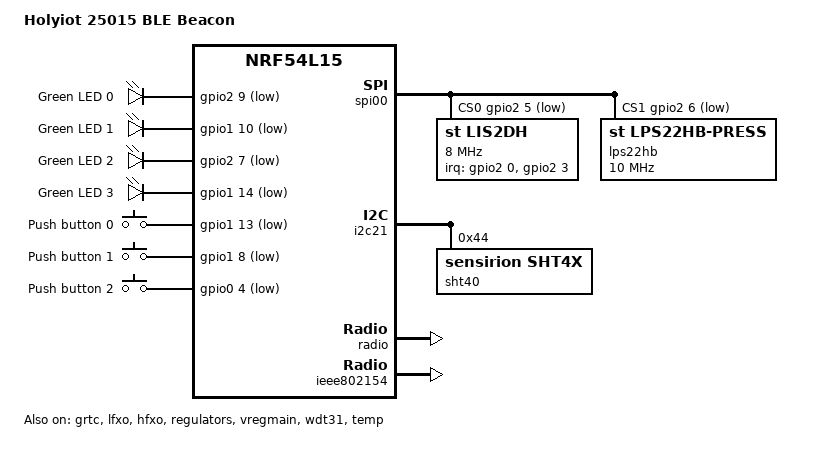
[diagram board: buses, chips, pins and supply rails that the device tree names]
/dts-v1/;
#include <nordic/nrf54l15_cpuapp.dtsi>
#include "holyiot_25015-pinctrl.dtsi"

/ {
	model = "Holyiot 25015 BLE Beacon";
	compatible = "holyiot,holyiot-25015-cpuapp";

	chosen {
		zephyr,code-partition = &slot0_partition;
		zephyr,sram = &cpuapp_sram;
		zephyr,flash = &cpuapp_rram;
		zephyr,flash-controller = &rram_controller;
	};

	leds {
		compatible = "gpio-leds";

		led0: led_0 {
			gpios = <&gpio2 9 GPIO_ACTIVE_LOW>;
			label = "Green LED 0";
		};

		led1: led_1 {
			gpios = <&gpio1 10 GPIO_ACTIVE_LOW>;
			label = "Green LED 1";
		};

		led2: led_2 {
			gpios = <&gpio2 7 GPIO_ACTIVE_LOW>;
			label = "Green LED 2";
		};

		led3: led_3 {
			gpios = <&gpio1 14 GPIO_ACTIVE_LOW>;
			label = "Green LED 3";
		};
	};

	buttons {
		compatible = "gpio-keys";

		/* P1.09 is used for I2C21 SCL (SHT40), so the physical button
		 * moves to button0 here instead of appearing as button1 as on 25008 */
		button0: button_0 {
			gpios = <&gpio1 13 (GPIO_PULL_UP | GPIO_ACTIVE_LOW)>;
			label = "Push button 0";
			zephyr,code = <INPUT_KEY_0>;
		};

		button1: button_1 {
			gpios = <&gpio1 8 (GPIO_PULL_UP | GPIO_ACTIVE_LOW)>;
			label = "Push button 1";
			zephyr,code = <INPUT_KEY_1>;
		};

		button2: button_2 {
			gpios = <&gpio0 4 (GPIO_PULL_UP | GPIO_ACTIVE_LOW)>;
			label = "Push button 2";
			zephyr,code = <INPUT_KEY_2>;
		};
	};

	aliases {
		led0 = &led0;
		led1 = &led1;
		led2 = &led2;
		led3 = &led3;
		sw0 = &button0;
		sw1 = &button1;
		sw2 = &button2;
		watchdog0 = &wdt31;
		accel0 = &lis2dh;
		env0 = &sht40;
	};
};

&grtc {
	owned-channels = <0 1 2 3 4 5 6 7 8 9 10 11>;
	/* Channels 7-11 reserved for Zero Latency IRQs, 3-4 for FLPR */
	child-owned-channels = <3 4 7 8 9 10 11>;
	status = "okay";
};

&cpuapp_sram {
	status = "okay";
};

&pinctrl {
	/* pinctrl nodes defined in holyiot_25015-pinctrl.dtsi */
};

&spi00 {
	status = "okay";
	cs-gpios = <&gpio2 5 GPIO_ACTIVE_LOW>, <&gpio2 6 GPIO_ACTIVE_LOW>;
	pinctrl-0 = <&spi00_default>;
	pinctrl-1 = <&spi00_sleep>;
	pinctrl-names = "default", "sleep";

	lis2dh: lis2dh@0 {
		compatible = "st,lis2dh", "st,lis2dh12";
		reg = <0>;
		spi-max-frequency = <8000000>;
		irq-gpios = <&gpio2 0 GPIO_ACTIVE_HIGH>, <&gpio2 3 GPIO_ACTIVE_HIGH>;
		status = "okay";
	};

	/* LPS22HB pressure sensor on SPI (no Zephyr SPI driver — read via raw SPI in app) */
	lps22hb: lps22hb@1 {
		compatible = "st,lps22hb-press";
		reg = <1>;
		spi-max-frequency = <10000000>;
		status = "okay";
	};
};

&i2c21 {
	status = "okay";
	pinctrl-0 = <&i2c21_default>;
	pinctrl-1 = <&i2c21_sleep>;
	pinctrl-names = "default", "sleep";

	sht40: sht4x@44 {
		compatible = "sensirion,sht4x";
		reg = <0x44>;
		repeatability = <2>;
		status = "okay";
	};
};

&lfxo {
	load-capacitors = "internal";
	load-capacitance-femtofarad = <16000>;
	status = "okay";
};

&hfxo {
	load-capacitors = "internal";
	load-capacitance-femtofarad = <15000>;
	status = "okay";
};

&regulators {
	status = "okay";
};

&vregmain {
	status = "okay";
	regulator-initial-mode = <NRF5X_REG_MODE_DCDC>;
};

&gpio0 {
	status = "okay";
};

&gpio1 {
	status = "okay";
};

&gpio2 {
	status = "okay";
};

&gpiote20 {
	status = "okay";
};

&gpiote30 {
	status = "okay";
};

&wdt31 {
	status = "okay";
};

&radio {
	status = "okay";
};

&ieee802154 {
	status = "okay";
};

&temp {
	status = "okay";
};

&clock {
	status = "okay";
};

#include <nordic/nrf54l15_partition.dtsi>
